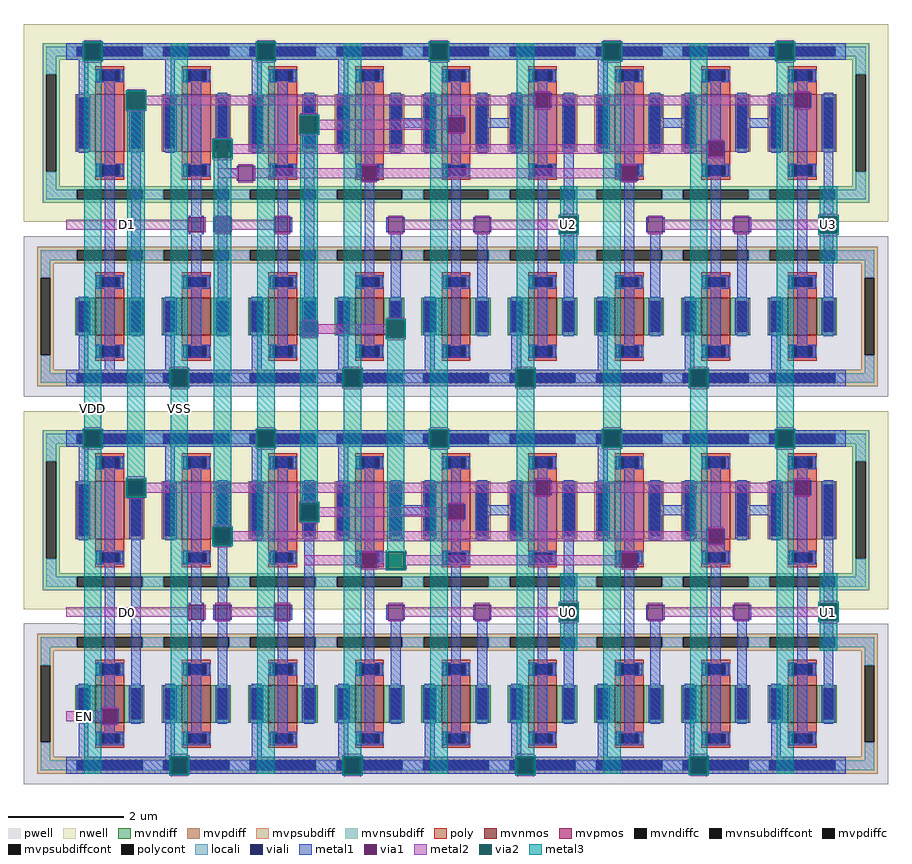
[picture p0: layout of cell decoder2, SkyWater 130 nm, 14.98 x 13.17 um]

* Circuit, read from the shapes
.subckt decoder2 D0 D1 EN U0 U1 U2 U3 VDD VSS
XM1 x6/C EN VSS VSS sky130_fd_pr__nfet_g5v0d10v5 w=0.65 l=0.5
XM2 xdummy/OUT VSS VSS VSS sky130_fd_pr__nfet_g5v0d10v5 w=0.65 l=0.5
XM3 x7/B D0 VSS VSS sky130_fd_pr__nfet_g5v0d10v5 w=0.65 l=0.5
XM4 x8/A D1 VSS VSS sky130_fd_pr__nfet_g5v0d10v5 w=0.65 l=0.5
XM5 x6/B x7/B VSS VSS sky130_fd_pr__nfet_g5v0d10v5 w=0.65 l=0.5
XM6 x6/A x8/A VSS VSS sky130_fd_pr__nfet_g5v0d10v5 w=0.65 l=0.5
XM7 U0 x6/A VSS VSS sky130_fd_pr__nfet_g5v0d10v5 w=0.65 l=0.5
XM8 U2 x8/A VSS VSS sky130_fd_pr__nfet_g5v0d10v5 w=0.65 l=0.5
XM9 U0 x6/B VSS VSS sky130_fd_pr__nfet_g5v0d10v5 w=0.65 l=0.5
XM10 U2 x6/B VSS VSS sky130_fd_pr__nfet_g5v0d10v5 w=0.65 l=0.5
XM11 U0 x6/C VSS VSS sky130_fd_pr__nfet_g5v0d10v5 w=0.65 l=0.5
XM12 U2 x6/C VSS VSS sky130_fd_pr__nfet_g5v0d10v5 w=0.65 l=0.5
XM13 U1 x6/A VSS VSS sky130_fd_pr__nfet_g5v0d10v5 w=0.65 l=0.5
XM14 U3 x8/A VSS VSS sky130_fd_pr__nfet_g5v0d10v5 w=0.65 l=0.5
XM15 U1 x7/B VSS VSS sky130_fd_pr__nfet_g5v0d10v5 w=0.65 l=0.5
XM16 U3 x7/B VSS VSS sky130_fd_pr__nfet_g5v0d10v5 w=0.65 l=0.5
XM17 U1 x6/C VSS VSS sky130_fd_pr__nfet_g5v0d10v5 w=0.65 l=0.5
XM18 U3 x6/C VSS VSS sky130_fd_pr__nfet_g5v0d10v5 w=0.65 l=0.5
XM19 x6/C EN VDD VDD sky130_fd_pr__pfet_g5v0d10v5 w=1 l=0.5
XM20 xdummy/OUT VSS VDD VDD sky130_fd_pr__pfet_g5v0d10v5 w=1 l=0.5
XM21 x7/B D0 VDD VDD sky130_fd_pr__pfet_g5v0d10v5 w=1 l=0.5
XM22 x8/A D1 VDD VDD sky130_fd_pr__pfet_g5v0d10v5 w=1 l=0.5
XM23 x6/B x7/B VDD VDD sky130_fd_pr__pfet_g5v0d10v5 w=1 l=0.5
XM24 x6/A x8/A VDD VDD sky130_fd_pr__pfet_g5v0d10v5 w=1 l=0.5
XM25 n1 x6/A VDD VDD sky130_fd_pr__pfet_g5v0d10v5 w=1 l=0.5
XM26 n2 x8/A VDD VDD sky130_fd_pr__pfet_g5v0d10v5 w=1 l=0.5
XM27 n3 x6/B n1 VDD sky130_fd_pr__pfet_g5v0d10v5 w=1 l=0.5
XM28 n4 x6/B n2 VDD sky130_fd_pr__pfet_g5v0d10v5 w=1 l=0.5
XM29 U0 x6/C n3 VDD sky130_fd_pr__pfet_g5v0d10v5 w=1 l=0.5
XM30 U2 x6/C n4 VDD sky130_fd_pr__pfet_g5v0d10v5 w=1 l=0.5
XM31 n5 x6/A VDD VDD sky130_fd_pr__pfet_g5v0d10v5 w=1 l=0.5
XM32 n6 x8/A VDD VDD sky130_fd_pr__pfet_g5v0d10v5 w=1 l=0.5
XM33 n7 x7/B n5 VDD sky130_fd_pr__pfet_g5v0d10v5 w=1 l=0.5
XM34 n8 x7/B n6 VDD sky130_fd_pr__pfet_g5v0d10v5 w=1 l=0.5
XM35 U1 x6/C n7 VDD sky130_fd_pr__pfet_g5v0d10v5 w=1 l=0.5
XM36 U3 x6/C n8 VDD sky130_fd_pr__pfet_g5v0d10v5 w=1 l=0.5
.ends

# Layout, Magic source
magic
tech sky130A
magscale 1 2
<< metal1 >>
rect 203 2509 209 2569
rect 269 2509 275 2569
rect 803 2509 809 2569
rect 869 2509 875 2569
rect 1403 2509 1409 2569
rect 1469 2509 1475 2569
rect 2003 2509 2009 2569
rect 2069 2509 2075 2569
rect 2603 2509 2609 2569
rect 2669 2509 2675 2569
rect 1766 2343 1772 2395
rect 1824 2343 1830 2395
rect 2666 2343 2672 2395
rect 2724 2343 2730 2395
rect 1466 2259 1472 2311
rect 1524 2259 1530 2311
rect 2366 2175 2372 2227
rect 2424 2175 2430 2227
rect 2366 2150 2430 2175
rect 738 2133 744 2142
rect 672 2099 744 2133
rect 738 2090 744 2099
rect 796 2090 802 2142
rect 1166 2091 1172 2143
rect 1224 2091 1230 2143
rect 2066 2091 2072 2143
rect 2124 2091 2130 2143
rect 572 1964 624 1970
rect 657 1912 663 1964
rect 715 1912 721 1964
rect 866 1912 872 1964
rect 924 1912 930 1964
rect 572 1906 624 1912
rect 957 1551 963 1603
rect 1015 1551 1021 1603
rect 281 1507 314 1511
rect 281 1390 315 1507
rect 503 1377 509 1437
rect 569 1377 575 1437
rect 1103 1377 1109 1437
rect 1169 1377 1175 1437
rect 1703 1377 1709 1437
rect 1769 1377 1775 1437
rect 2303 1377 2309 1437
rect 2369 1377 2375 1437
rect 203 1167 209 1227
rect 269 1167 275 1227
rect 803 1167 809 1227
rect 869 1167 875 1227
rect 1403 1167 1409 1227
rect 1469 1167 1475 1227
rect 2003 1167 2009 1227
rect 2069 1167 2075 1227
rect 2603 1167 2609 1227
rect 2669 1167 2675 1227
rect 357 1001 363 1053
rect 415 1001 421 1053
rect 1766 1001 1772 1053
rect 1824 1001 1830 1053
rect 2666 1001 2672 1053
rect 2724 1001 2730 1053
rect 957 917 963 969
rect 1015 917 1021 969
rect 1466 917 1472 969
rect 1524 917 1530 969
rect 657 833 663 885
rect 715 833 721 885
rect 2366 833 2372 885
rect 2424 833 2430 885
rect 2366 808 2430 833
rect 1166 749 1172 801
rect 1224 749 1230 801
rect 2066 749 2072 801
rect 2124 749 2130 801
rect 572 622 624 628
rect 657 570 663 622
rect 715 570 721 622
rect 866 570 872 622
rect 924 570 930 622
rect 572 564 624 570
rect 266 209 272 261
rect 324 209 330 261
rect 503 35 509 95
rect 569 35 575 95
rect 1103 35 1109 95
rect 1169 35 1175 95
rect 1703 35 1709 95
rect 1769 35 1775 95
rect 2303 35 2309 95
rect 2369 35 2375 95
<< via1 >>
rect 209 2509 269 2569
rect 809 2509 869 2569
rect 1409 2509 1469 2569
rect 2009 2509 2069 2569
rect 2609 2509 2669 2569
rect 1772 2343 1824 2395
rect 2672 2343 2724 2395
rect 1472 2259 1524 2311
rect 2372 2175 2424 2227
rect 744 2090 796 2142
rect 1172 2091 1224 2143
rect 2072 2091 2124 2143
rect 572 1912 624 1964
rect 663 1912 715 1964
rect 872 1912 924 1964
rect 963 1551 1015 1603
rect 509 1377 569 1437
rect 1109 1377 1169 1437
rect 1709 1377 1769 1437
rect 2309 1377 2369 1437
rect 209 1167 269 1227
rect 809 1167 869 1227
rect 1409 1167 1469 1227
rect 2009 1167 2069 1227
rect 2609 1167 2669 1227
rect 363 1001 415 1053
rect 1772 1001 1824 1053
rect 2672 1001 2724 1053
rect 963 917 1015 969
rect 1472 917 1524 969
rect 663 833 715 885
rect 2372 833 2424 885
rect 1172 749 1224 801
rect 2072 749 2124 801
rect 572 570 624 622
rect 663 570 715 622
rect 872 570 924 622
rect 272 209 324 261
rect 509 35 569 95
rect 1109 35 1169 95
rect 1709 35 1769 95
rect 2309 35 2369 95
<< metal2 >>
rect 209 2569 269 2578
rect 209 2500 269 2509
rect 809 2569 869 2578
rect 809 2500 869 2509
rect 1409 2569 1469 2578
rect 1409 2500 1469 2509
rect 2009 2569 2069 2578
rect 2009 2500 2069 2509
rect 2609 2569 2669 2578
rect 2609 2500 2669 2509
rect 359 2399 419 2408
rect 1772 2395 1824 2401
rect 419 2352 1772 2386
rect 359 2330 419 2339
rect 2672 2395 2724 2401
rect 1824 2352 2672 2386
rect 1772 2337 1824 2343
rect 2672 2337 2724 2343
rect 959 2315 1019 2324
rect 1472 2311 1524 2317
rect 1019 2268 1472 2302
rect 959 2246 1019 2255
rect 1472 2253 1524 2259
rect 659 2231 719 2240
rect 2372 2227 2424 2233
rect 719 2184 2372 2218
rect 659 2162 719 2171
rect 2372 2169 2424 2175
rect 744 2142 796 2148
rect 672 2100 744 2134
rect 1172 2143 1224 2149
rect 796 2100 1172 2134
rect 744 2084 796 2090
rect 2072 2143 2124 2149
rect 1224 2100 2072 2134
rect 1172 2085 1224 2091
rect 2072 2085 2124 2091
rect 663 1964 715 1970
rect 566 1955 572 1964
rect 148 1921 572 1955
rect 566 1912 572 1921
rect 624 1912 630 1964
rect 872 1964 924 1970
rect 715 1921 872 1955
rect 663 1906 715 1912
rect 1859 1968 1919 1977
rect 1829 1921 1859 1955
rect 872 1906 924 1912
rect 2759 1968 2819 1977
rect 2729 1921 2759 1955
rect 1859 1899 1919 1908
rect 2759 1899 2819 1908
rect 963 1603 1015 1609
rect 1259 1607 1319 1616
rect 1015 1560 1259 1594
rect 963 1545 1015 1551
rect 1259 1538 1319 1547
rect 509 1437 569 1446
rect 509 1368 569 1377
rect 1109 1437 1169 1446
rect 1109 1368 1169 1377
rect 1709 1437 1769 1446
rect 1709 1368 1769 1377
rect 2309 1437 2369 1446
rect 2309 1368 2369 1377
rect 209 1227 269 1236
rect 209 1158 269 1167
rect 809 1227 869 1236
rect 809 1158 869 1167
rect 1409 1227 1469 1236
rect 1409 1158 1469 1167
rect 2009 1227 2069 1236
rect 2009 1158 2069 1167
rect 2609 1227 2669 1236
rect 2609 1158 2669 1167
rect 359 1057 419 1066
rect 1772 1053 1824 1059
rect 419 1010 1772 1044
rect 359 988 419 997
rect 2672 1053 2724 1059
rect 1824 1010 2672 1044
rect 1772 995 1824 1001
rect 2672 995 2724 1001
rect 959 973 1019 982
rect 1472 969 1524 975
rect 1019 926 1472 960
rect 959 904 1019 913
rect 1472 911 1524 917
rect 659 889 719 898
rect 2372 885 2424 891
rect 719 842 2372 876
rect 659 820 719 829
rect 2372 827 2424 833
rect 1172 805 1224 807
rect 1172 801 1259 805
rect 972 758 1172 792
rect 1224 749 1259 801
rect 1172 745 1259 749
rect 1319 792 1328 805
rect 2072 801 2124 807
rect 1319 758 2072 792
rect 1319 745 1328 758
rect 1172 743 1224 745
rect 2072 743 2124 749
rect 663 622 715 628
rect 566 613 572 622
rect 148 579 572 613
rect 566 570 572 579
rect 624 570 630 622
rect 872 622 924 628
rect 715 579 872 613
rect 663 564 715 570
rect 1859 626 1919 635
rect 1829 579 1859 613
rect 872 564 924 570
rect 2759 626 2819 635
rect 2729 579 2759 613
rect 1859 557 1919 566
rect 2759 557 2819 566
rect 272 261 324 267
rect 148 218 272 252
rect 272 203 324 209
rect 509 95 569 104
rect 509 26 569 35
rect 1109 95 1169 104
rect 1109 26 1169 35
rect 1709 95 1769 104
rect 1709 26 1769 35
rect 2309 95 2369 104
rect 2309 26 2369 35
<< via2 >>
rect 209 2509 269 2569
rect 809 2509 869 2569
rect 1409 2509 1469 2569
rect 2009 2509 2069 2569
rect 2609 2509 2669 2569
rect 359 2339 419 2399
rect 959 2255 1019 2315
rect 659 2171 719 2231
rect 1859 1908 1919 1968
rect 2759 1908 2819 1968
rect 1259 1547 1319 1607
rect 509 1377 569 1437
rect 1109 1377 1169 1437
rect 1709 1377 1769 1437
rect 2309 1377 2369 1437
rect 209 1167 269 1227
rect 809 1167 869 1227
rect 1409 1167 1469 1227
rect 2009 1167 2069 1227
rect 2609 1167 2669 1227
rect 359 1053 419 1057
rect 359 1001 363 1053
rect 363 1001 415 1053
rect 415 1001 419 1053
rect 359 997 419 1001
rect 959 969 1019 973
rect 959 917 963 969
rect 963 917 1015 969
rect 1015 917 1019 969
rect 959 913 1019 917
rect 659 885 719 889
rect 659 833 663 885
rect 663 833 715 885
rect 715 833 719 885
rect 659 829 719 833
rect 1259 745 1319 805
rect 1859 566 1919 626
rect 2759 566 2819 626
rect 509 35 569 95
rect 1109 35 1169 95
rect 1709 35 1769 95
rect 2309 35 2369 95
<< metal3 >>
rect 204 2569 274 2574
rect 204 2509 209 2569
rect 269 2509 274 2569
rect 804 2569 874 2574
rect 204 2504 274 2509
rect 209 1232 269 2504
rect 354 2399 424 2404
rect 354 2339 359 2399
rect 419 2339 424 2399
rect 354 2334 424 2339
rect 204 1227 274 1232
rect 204 1167 209 1227
rect 269 1167 274 1227
rect 204 1162 274 1167
rect 209 36 269 1162
rect 359 1062 419 2334
rect 509 1442 569 2568
rect 804 2509 809 2569
rect 869 2509 874 2569
rect 1404 2569 1474 2574
rect 804 2504 874 2509
rect 654 2231 724 2236
rect 654 2171 659 2231
rect 719 2171 724 2231
rect 654 2166 724 2171
rect 504 1437 574 1442
rect 504 1377 509 1437
rect 569 1377 574 1437
rect 504 1372 574 1377
rect 354 1057 424 1062
rect 354 997 359 1057
rect 419 997 424 1057
rect 354 992 424 997
rect 509 100 569 1372
rect 659 894 719 2166
rect 809 1232 869 2504
rect 954 2315 1024 2320
rect 954 2255 959 2315
rect 1019 2255 1024 2315
rect 954 2250 1024 2255
rect 804 1227 874 1232
rect 804 1167 809 1227
rect 869 1167 874 1227
rect 804 1162 874 1167
rect 654 889 724 894
rect 654 829 659 889
rect 719 829 724 889
rect 654 824 724 829
rect 504 95 574 100
rect 504 35 509 95
rect 569 35 574 95
rect 809 36 869 1162
rect 959 978 1019 2250
rect 1109 1442 1169 2568
rect 1404 2509 1409 2569
rect 1469 2509 1474 2569
rect 2004 2569 2074 2574
rect 1404 2504 1474 2509
rect 1254 1607 1324 1612
rect 1254 1547 1259 1607
rect 1319 1547 1324 1607
rect 1254 1542 1324 1547
rect 1104 1437 1174 1442
rect 1104 1377 1109 1437
rect 1169 1377 1174 1437
rect 1104 1372 1174 1377
rect 954 973 1024 978
rect 954 913 959 973
rect 1019 913 1024 973
rect 954 908 1024 913
rect 1109 100 1169 1372
rect 1259 810 1319 1542
rect 1409 1232 1469 2504
rect 1709 1442 1769 2568
rect 2004 2509 2009 2569
rect 2069 2509 2074 2569
rect 2604 2569 2674 2574
rect 2004 2504 2074 2509
rect 1859 1973 1919 2072
rect 1854 1968 1924 1973
rect 1854 1908 1859 1968
rect 1919 1908 1924 1968
rect 1854 1903 1924 1908
rect 1859 1804 1919 1903
rect 1704 1437 1774 1442
rect 1704 1377 1709 1437
rect 1769 1377 1774 1437
rect 1704 1372 1774 1377
rect 1404 1227 1474 1232
rect 1404 1167 1409 1227
rect 1469 1167 1474 1227
rect 1404 1162 1474 1167
rect 1254 805 1324 810
rect 1254 745 1259 805
rect 1319 745 1324 805
rect 1254 740 1324 745
rect 1104 95 1174 100
rect 504 30 574 35
rect 1104 35 1109 95
rect 1169 35 1174 95
rect 1409 36 1469 1162
rect 1709 100 1769 1372
rect 2009 1232 2069 2504
rect 2309 1442 2369 2568
rect 2604 2509 2609 2569
rect 2669 2509 2674 2569
rect 2604 2504 2674 2509
rect 2304 1437 2374 1442
rect 2304 1377 2309 1437
rect 2369 1377 2374 1437
rect 2304 1372 2374 1377
rect 2004 1227 2074 1232
rect 2004 1167 2009 1227
rect 2069 1167 2074 1227
rect 2004 1162 2074 1167
rect 1859 631 1919 730
rect 1854 626 1924 631
rect 1854 566 1859 626
rect 1919 566 1924 626
rect 1854 561 1924 566
rect 1859 462 1919 561
rect 1704 95 1774 100
rect 1104 30 1174 35
rect 1704 35 1709 95
rect 1769 35 1774 95
rect 2009 36 2069 1162
rect 2309 100 2369 1372
rect 2609 1232 2669 2504
rect 2759 1973 2819 2072
rect 2754 1968 2824 1973
rect 2754 1908 2759 1968
rect 2819 1908 2824 1968
rect 2754 1903 2824 1908
rect 2759 1804 2819 1903
rect 2604 1227 2674 1232
rect 2604 1167 2609 1227
rect 2669 1167 2674 1227
rect 2604 1162 2674 1167
rect 2304 95 2374 100
rect 1704 30 1774 35
rect 2304 35 2309 95
rect 2369 35 2374 95
rect 2609 36 2669 1162
rect 2759 631 2819 730
rect 2754 626 2824 631
rect 2754 566 2759 626
rect 2819 566 2824 626
rect 2754 561 2824 566
rect 2759 462 2819 561
rect 2304 30 2374 35
use transistor_pair_bus9  transistor_pair_bus9_0
transform 1 0 60 0 1 0
box -60 0 2936 1292
use transistor_pair_bus9  transistor_pair_bus9_1
transform 1 0 60 0 1 1342
box -60 0 2936 1292
use inverter  x1
transform 1 0 60 0 1 0
box 88 36 388 1226
use inverter  x2
transform 1 0 360 0 1 0
box 88 36 388 1226
use inverter  x3
transform 1 0 660 0 1 0
box 88 36 388 1226
use inverter  x4
transform 1 0 360 0 1 1342
box 88 36 388 1226
use inverter  x5
transform 1 0 660 0 1 1342
box 88 36 388 1226
use nor3  x6
transform 1 0 960 0 1 0
box 88 36 964 1226
use nor3  x7
transform 1 0 1860 0 1 0
box 88 36 964 1226
use nor3  x8
transform 1 0 960 0 1 1342
box 88 36 964 1226
use nor3  x9
transform 1 0 1860 0 1 1342
box 88 36 964 1226
use inverter  xdummy
transform 1 0 60 0 1 1342
box 88 36 388 1226
<< labels >>
flabel metal2 148 218 272 252 0 FreeSans 128 0 0 0 EN
port 2 nsew
flabel metal2 148 579 572 613 0 FreeSans 128 0 0 0 D0
port 0 nsew
flabel metal2 148 1921 572 1955 0 FreeSans 128 0 0 0 D1
port 1 nsew
flabel metal3 1859 462 1919 730 0 FreeSans 128 0 0 0 U0
port 3 nsew
flabel metal3 2759 462 2819 730 0 FreeSans 128 0 0 0 U1
port 4 nsew
flabel metal3 1859 1804 1919 2072 0 FreeSans 128 0 0 0 U2
port 5 nsew
flabel metal3 2759 1804 2819 2072 0 FreeSans 128 0 0 0 U3
port 6 nsew
flabel metal3 209 36 269 2568 0 FreeSans 128 0 0 0 VDD
port 7 nsew
flabel metal3 509 36 569 2568 0 FreeSans 128 0 0 0 VSS
port 8 nsew
<< end >>

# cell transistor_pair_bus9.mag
magic
tech sky130A
magscale 1 2
<< nwell >>
rect -60 606 2936 1292
<< pwell >>
rect -60 556 126 557
rect -60 0 2936 556
<< mvnmos >>
rect 188 213 288 343
rect 488 213 588 343
rect 788 213 888 343
rect 1088 213 1188 343
rect 1388 213 1488 343
rect 1688 213 1788 343
rect 1988 213 2088 343
rect 2288 213 2388 343
rect 2588 213 2688 343
<< mvpmos >>
rect 188 849 288 1049
rect 488 849 588 1049
rect 788 849 888 1049
rect 1088 849 1188 1049
rect 1388 849 1488 1049
rect 1688 849 1788 1049
rect 1988 849 2088 1049
rect 2288 849 2388 1049
rect 2588 849 2688 1049
<< mvndiff >>
rect 118 331 188 343
rect 118 225 130 331
rect 164 225 188 331
rect 118 213 188 225
rect 288 331 358 343
rect 288 225 312 331
rect 346 225 358 331
rect 288 213 358 225
rect 418 331 488 343
rect 418 225 430 331
rect 464 225 488 331
rect 418 213 488 225
rect 588 331 658 343
rect 588 225 612 331
rect 646 225 658 331
rect 588 213 658 225
rect 718 331 788 343
rect 718 225 730 331
rect 764 225 788 331
rect 718 213 788 225
rect 888 331 958 343
rect 888 225 912 331
rect 946 225 958 331
rect 888 213 958 225
rect 1018 331 1088 343
rect 1018 225 1030 331
rect 1064 225 1088 331
rect 1018 213 1088 225
rect 1188 331 1258 343
rect 1188 225 1212 331
rect 1246 225 1258 331
rect 1188 213 1258 225
rect 1318 331 1388 343
rect 1318 225 1330 331
rect 1364 225 1388 331
rect 1318 213 1388 225
rect 1488 331 1558 343
rect 1488 225 1512 331
rect 1546 225 1558 331
rect 1488 213 1558 225
rect 1618 331 1688 343
rect 1618 225 1630 331
rect 1664 225 1688 331
rect 1618 213 1688 225
rect 1788 331 1858 343
rect 1788 225 1812 331
rect 1846 225 1858 331
rect 1788 213 1858 225
rect 1918 331 1988 343
rect 1918 225 1930 331
rect 1964 225 1988 331
rect 1918 213 1988 225
rect 2088 331 2158 343
rect 2088 225 2112 331
rect 2146 225 2158 331
rect 2088 213 2158 225
rect 2218 331 2288 343
rect 2218 225 2230 331
rect 2264 225 2288 331
rect 2218 213 2288 225
rect 2388 331 2458 343
rect 2388 225 2412 331
rect 2446 225 2458 331
rect 2388 213 2458 225
rect 2518 331 2588 343
rect 2518 225 2530 331
rect 2564 225 2588 331
rect 2518 213 2588 225
rect 2688 331 2758 343
rect 2688 225 2712 331
rect 2746 225 2758 331
rect 2688 213 2758 225
<< mvpdiff >>
rect 118 1037 188 1049
rect 118 861 130 1037
rect 164 861 188 1037
rect 118 849 188 861
rect 288 1037 358 1049
rect 288 861 312 1037
rect 346 861 358 1037
rect 288 849 358 861
rect 418 1037 488 1049
rect 418 861 430 1037
rect 464 861 488 1037
rect 418 849 488 861
rect 588 1037 658 1049
rect 588 861 612 1037
rect 646 861 658 1037
rect 588 849 658 861
rect 718 1037 788 1049
rect 718 861 730 1037
rect 764 861 788 1037
rect 718 849 788 861
rect 888 1037 958 1049
rect 888 861 912 1037
rect 946 861 958 1037
rect 888 849 958 861
rect 1018 1037 1088 1049
rect 1018 861 1030 1037
rect 1064 861 1088 1037
rect 1018 849 1088 861
rect 1188 1037 1258 1049
rect 1188 861 1212 1037
rect 1246 861 1258 1037
rect 1188 849 1258 861
rect 1318 1037 1388 1049
rect 1318 861 1330 1037
rect 1364 861 1388 1037
rect 1318 849 1388 861
rect 1488 1037 1558 1049
rect 1488 861 1512 1037
rect 1546 861 1558 1037
rect 1488 849 1558 861
rect 1618 1037 1688 1049
rect 1618 861 1630 1037
rect 1664 861 1688 1037
rect 1618 849 1688 861
rect 1788 1037 1858 1049
rect 1788 861 1812 1037
rect 1846 861 1858 1037
rect 1788 849 1858 861
rect 1918 1037 1988 1049
rect 1918 861 1930 1037
rect 1964 861 1988 1037
rect 1918 849 1988 861
rect 2088 1037 2158 1049
rect 2088 861 2112 1037
rect 2146 861 2158 1037
rect 2088 849 2158 861
rect 2218 1037 2288 1049
rect 2218 861 2230 1037
rect 2264 861 2288 1037
rect 2218 849 2288 861
rect 2388 1037 2458 1049
rect 2388 861 2412 1037
rect 2446 861 2458 1037
rect 2388 849 2458 861
rect 2518 1037 2588 1049
rect 2518 861 2530 1037
rect 2564 861 2588 1037
rect 2518 849 2588 861
rect 2688 1037 2758 1049
rect 2688 861 2712 1037
rect 2746 861 2758 1037
rect 2688 849 2758 861
<< mvndiffc >>
rect 130 225 164 331
rect 312 225 346 331
rect 430 225 464 331
rect 612 225 646 331
rect 730 225 764 331
rect 912 225 946 331
rect 1030 225 1064 331
rect 1212 225 1246 331
rect 1330 225 1364 331
rect 1512 225 1546 331
rect 1630 225 1664 331
rect 1812 225 1846 331
rect 1930 225 1964 331
rect 2112 225 2146 331
rect 2230 225 2264 331
rect 2412 225 2446 331
rect 2530 225 2564 331
rect 2712 225 2746 331
<< mvpdiffc >>
rect 130 861 164 1037
rect 312 861 346 1037
rect 430 861 464 1037
rect 612 861 646 1037
rect 730 861 764 1037
rect 912 861 946 1037
rect 1030 861 1064 1037
rect 1212 861 1246 1037
rect 1330 861 1364 1037
rect 1512 861 1546 1037
rect 1630 861 1664 1037
rect 1812 861 1846 1037
rect 1930 861 1964 1037
rect 2112 861 2146 1037
rect 2230 861 2264 1037
rect 2412 861 2446 1037
rect 2530 861 2564 1037
rect 2712 861 2746 1037
<< mvpsubdiff >>
rect -14 508 2900 520
rect -14 474 124 508
rect 352 474 424 508
rect 652 474 724 508
rect 952 474 1024 508
rect 1252 474 1324 508
rect 1552 474 1624 508
rect 1852 474 1924 508
rect 2152 474 2224 508
rect 2452 474 2524 508
rect 2752 474 2900 508
rect -14 462 2900 474
rect -14 412 44 462
rect -14 144 -2 412
rect 32 144 44 412
rect 2842 412 2900 462
rect -14 94 44 144
rect 2842 144 2854 412
rect 2888 144 2900 412
rect 2842 94 2900 144
rect -14 82 2900 94
rect -14 48 124 82
rect 352 48 424 82
rect 652 48 724 82
rect 952 48 1024 82
rect 1252 48 1324 82
rect 1552 48 1624 82
rect 1852 48 1924 82
rect 2152 48 2224 82
rect 2452 48 2524 82
rect 2752 48 2900 82
rect -14 36 2900 48
<< mvnsubdiff >>
rect 6 1214 2870 1226
rect 6 1180 124 1214
rect 352 1180 424 1214
rect 652 1180 724 1214
rect 952 1180 1024 1214
rect 1252 1180 1324 1214
rect 1552 1180 1624 1214
rect 1852 1180 1924 1214
rect 2152 1180 2224 1214
rect 2452 1180 2524 1214
rect 2752 1180 2870 1214
rect 6 1168 2870 1180
rect 6 1118 64 1168
rect 6 780 18 1118
rect 52 780 64 1118
rect 2812 1118 2870 1168
rect 6 730 64 780
rect 2812 780 2824 1118
rect 2858 780 2870 1118
rect 2812 730 2870 780
rect 6 718 2870 730
rect 6 684 124 718
rect 352 684 424 718
rect 652 684 724 718
rect 952 684 1024 718
rect 1252 684 1324 718
rect 1552 684 1624 718
rect 1852 684 1924 718
rect 2152 684 2224 718
rect 2452 684 2524 718
rect 2752 684 2870 718
rect 6 672 2870 684
<< mvpsubdiffcont >>
rect 124 474 352 508
rect 424 474 652 508
rect 724 474 952 508
rect 1024 474 1252 508
rect 1324 474 1552 508
rect 1624 474 1852 508
rect 1924 474 2152 508
rect 2224 474 2452 508
rect 2524 474 2752 508
rect -2 144 32 412
rect 2854 144 2888 412
rect 124 48 352 82
rect 424 48 652 82
rect 724 48 952 82
rect 1024 48 1252 82
rect 1324 48 1552 82
rect 1624 48 1852 82
rect 1924 48 2152 82
rect 2224 48 2452 82
rect 2524 48 2752 82
<< mvnsubdiffcont >>
rect 124 1180 352 1214
rect 424 1180 652 1214
rect 724 1180 952 1214
rect 1024 1180 1252 1214
rect 1324 1180 1552 1214
rect 1624 1180 1852 1214
rect 1924 1180 2152 1214
rect 2224 1180 2452 1214
rect 2524 1180 2752 1214
rect 18 780 52 1118
rect 2824 780 2858 1118
rect 124 684 352 718
rect 424 684 652 718
rect 724 684 952 718
rect 1024 684 1252 718
rect 1324 684 1552 718
rect 1624 684 1852 718
rect 1924 684 2152 718
rect 2224 684 2452 718
rect 2524 684 2752 718
<< poly >>
rect 188 1130 288 1146
rect 188 1096 204 1130
rect 272 1096 288 1130
rect 188 1049 288 1096
rect 488 1130 588 1146
rect 488 1096 504 1130
rect 572 1096 588 1130
rect 488 1049 588 1096
rect 788 1130 888 1146
rect 788 1096 804 1130
rect 872 1096 888 1130
rect 788 1049 888 1096
rect 1088 1130 1188 1146
rect 1088 1096 1104 1130
rect 1172 1096 1188 1130
rect 1088 1049 1188 1096
rect 1388 1130 1488 1146
rect 1388 1096 1404 1130
rect 1472 1096 1488 1130
rect 1388 1049 1488 1096
rect 1688 1130 1788 1146
rect 1688 1096 1704 1130
rect 1772 1096 1788 1130
rect 1688 1049 1788 1096
rect 1988 1130 2088 1146
rect 1988 1096 2004 1130
rect 2072 1096 2088 1130
rect 1988 1049 2088 1096
rect 2288 1130 2388 1146
rect 2288 1096 2304 1130
rect 2372 1096 2388 1130
rect 2288 1049 2388 1096
rect 2588 1130 2688 1146
rect 2588 1096 2604 1130
rect 2672 1096 2688 1130
rect 2588 1049 2688 1096
rect 188 802 288 849
rect 188 768 204 802
rect 272 768 288 802
rect 188 752 288 768
rect 488 802 588 849
rect 488 768 504 802
rect 572 768 588 802
rect 488 752 588 768
rect 788 802 888 849
rect 788 768 804 802
rect 872 768 888 802
rect 788 752 888 768
rect 1088 802 1188 849
rect 1088 768 1104 802
rect 1172 768 1188 802
rect 1088 752 1188 768
rect 1388 802 1488 849
rect 1388 768 1404 802
rect 1472 768 1488 802
rect 1388 752 1488 768
rect 1688 802 1788 849
rect 1688 768 1704 802
rect 1772 768 1788 802
rect 1688 752 1788 768
rect 1988 802 2088 849
rect 1988 768 2004 802
rect 2072 768 2088 802
rect 1988 752 2088 768
rect 2288 802 2388 849
rect 2288 768 2304 802
rect 2372 768 2388 802
rect 2288 752 2388 768
rect 2588 802 2688 849
rect 2588 768 2604 802
rect 2672 768 2688 802
rect 2588 752 2688 768
rect 188 415 288 431
rect 188 381 204 415
rect 272 381 288 415
rect 188 343 288 381
rect 488 415 588 431
rect 488 381 504 415
rect 572 381 588 415
rect 488 343 588 381
rect 788 415 888 431
rect 788 381 804 415
rect 872 381 888 415
rect 788 343 888 381
rect 1088 415 1188 431
rect 1088 381 1104 415
rect 1172 381 1188 415
rect 1088 343 1188 381
rect 1388 415 1488 431
rect 1388 381 1404 415
rect 1472 381 1488 415
rect 1388 343 1488 381
rect 1688 415 1788 431
rect 1688 381 1704 415
rect 1772 381 1788 415
rect 1688 343 1788 381
rect 1988 415 2088 431
rect 1988 381 2004 415
rect 2072 381 2088 415
rect 1988 343 2088 381
rect 2288 415 2388 431
rect 2288 381 2304 415
rect 2372 381 2388 415
rect 2288 343 2388 381
rect 2588 415 2688 431
rect 2588 381 2604 415
rect 2672 381 2688 415
rect 2588 343 2688 381
rect 188 175 288 213
rect 188 141 204 175
rect 272 141 288 175
rect 188 125 288 141
rect 488 175 588 213
rect 488 141 504 175
rect 572 141 588 175
rect 488 125 588 141
rect 788 175 888 213
rect 788 141 804 175
rect 872 141 888 175
rect 788 125 888 141
rect 1088 175 1188 213
rect 1088 141 1104 175
rect 1172 141 1188 175
rect 1088 125 1188 141
rect 1388 175 1488 213
rect 1388 141 1404 175
rect 1472 141 1488 175
rect 1388 125 1488 141
rect 1688 175 1788 213
rect 1688 141 1704 175
rect 1772 141 1788 175
rect 1688 125 1788 141
rect 1988 175 2088 213
rect 1988 141 2004 175
rect 2072 141 2088 175
rect 1988 125 2088 141
rect 2288 175 2388 213
rect 2288 141 2304 175
rect 2372 141 2388 175
rect 2288 125 2388 141
rect 2588 175 2688 213
rect 2588 141 2604 175
rect 2672 141 2688 175
rect 2588 125 2688 141
<< polycont >>
rect 204 1096 272 1130
rect 504 1096 572 1130
rect 804 1096 872 1130
rect 1104 1096 1172 1130
rect 1404 1096 1472 1130
rect 1704 1096 1772 1130
rect 2004 1096 2072 1130
rect 2304 1096 2372 1130
rect 2604 1096 2672 1130
rect 204 768 272 802
rect 504 768 572 802
rect 804 768 872 802
rect 1104 768 1172 802
rect 1404 768 1472 802
rect 1704 768 1772 802
rect 2004 768 2072 802
rect 2304 768 2372 802
rect 2604 768 2672 802
rect 204 381 272 415
rect 504 381 572 415
rect 804 381 872 415
rect 1104 381 1172 415
rect 1404 381 1472 415
rect 1704 381 1772 415
rect 2004 381 2072 415
rect 2304 381 2372 415
rect 2604 381 2672 415
rect 204 141 272 175
rect 504 141 572 175
rect 804 141 872 175
rect 1104 141 1172 175
rect 1404 141 1472 175
rect 1704 141 1772 175
rect 2004 141 2072 175
rect 2304 141 2372 175
rect 2604 141 2672 175
<< locali >>
rect 18 1180 124 1214
rect 352 1180 424 1214
rect 652 1180 724 1214
rect 952 1180 1024 1214
rect 1252 1180 1324 1214
rect 1552 1180 1624 1214
rect 1852 1180 1924 1214
rect 2152 1180 2224 1214
rect 2452 1180 2524 1214
rect 2752 1180 2858 1214
rect 18 1118 52 1180
rect 188 1096 204 1130
rect 272 1096 288 1130
rect 488 1096 504 1130
rect 572 1096 588 1130
rect 788 1096 804 1130
rect 872 1096 888 1130
rect 1088 1096 1104 1130
rect 1172 1096 1188 1130
rect 1388 1096 1404 1130
rect 1472 1096 1488 1130
rect 1688 1096 1704 1130
rect 1772 1096 1788 1130
rect 1988 1096 2004 1130
rect 2072 1096 2088 1130
rect 2288 1096 2304 1130
rect 2372 1096 2388 1130
rect 2588 1096 2604 1130
rect 2672 1096 2688 1130
rect 2824 1118 2858 1180
rect 130 1037 164 1053
rect 130 845 164 861
rect 312 1037 346 1053
rect 312 845 346 861
rect 430 1037 464 1053
rect 430 845 464 861
rect 612 1037 646 1053
rect 612 845 646 861
rect 730 1037 764 1053
rect 730 845 764 861
rect 912 1037 946 1053
rect 912 845 946 861
rect 1030 1037 1064 1053
rect 1030 845 1064 861
rect 1212 1037 1246 1053
rect 1212 845 1246 861
rect 1330 1037 1364 1053
rect 1330 845 1364 861
rect 1512 1037 1546 1053
rect 1512 845 1546 861
rect 1630 1037 1664 1053
rect 1630 845 1664 861
rect 1812 1037 1846 1053
rect 1812 845 1846 861
rect 1930 1037 1964 1053
rect 1930 845 1964 861
rect 2112 1037 2146 1053
rect 2112 845 2146 861
rect 2230 1037 2264 1053
rect 2230 845 2264 861
rect 2412 1037 2446 1053
rect 2412 845 2446 861
rect 2530 1037 2564 1053
rect 2530 845 2564 861
rect 2712 1037 2746 1053
rect 2712 845 2746 861
rect 18 718 52 780
rect 188 768 204 802
rect 272 768 288 802
rect 488 768 504 802
rect 572 768 588 802
rect 788 768 804 802
rect 872 768 888 802
rect 1088 768 1104 802
rect 1172 768 1188 802
rect 1388 768 1404 802
rect 1472 768 1488 802
rect 1688 768 1704 802
rect 1772 768 1788 802
rect 1988 768 2004 802
rect 2072 768 2088 802
rect 2288 768 2304 802
rect 2372 768 2388 802
rect 2588 768 2604 802
rect 2672 768 2688 802
rect 2824 718 2858 780
rect 18 684 124 718
rect 352 684 424 718
rect 652 684 724 718
rect 952 684 1024 718
rect 1252 684 1324 718
rect 1552 684 1624 718
rect 1852 684 1924 718
rect 2152 684 2224 718
rect 2452 684 2524 718
rect 2752 684 2858 718
rect -2 474 124 508
rect 352 474 424 508
rect 652 474 724 508
rect 952 474 1024 508
rect 1252 474 1324 508
rect 1552 474 1624 508
rect 1852 474 1924 508
rect 2152 474 2224 508
rect 2452 474 2524 508
rect 2752 474 2888 508
rect -2 412 32 474
rect 188 381 204 415
rect 272 381 288 415
rect 488 381 504 415
rect 572 381 588 415
rect 788 381 804 415
rect 872 381 888 415
rect 1088 381 1104 415
rect 1172 381 1188 415
rect 1388 381 1404 415
rect 1472 381 1488 415
rect 1688 381 1704 415
rect 1772 381 1788 415
rect 1988 381 2004 415
rect 2072 381 2088 415
rect 2288 381 2304 415
rect 2372 381 2388 415
rect 2588 381 2604 415
rect 2672 381 2688 415
rect 2854 412 2888 474
rect 130 331 164 347
rect 130 209 164 225
rect 312 331 346 347
rect 312 209 346 225
rect 430 331 464 347
rect 430 209 464 225
rect 612 331 646 347
rect 612 209 646 225
rect 730 331 764 347
rect 730 209 764 225
rect 912 331 946 347
rect 912 209 946 225
rect 1030 331 1064 347
rect 1030 209 1064 225
rect 1212 331 1246 347
rect 1212 209 1246 225
rect 1330 331 1364 347
rect 1330 209 1364 225
rect 1512 331 1546 347
rect 1512 209 1546 225
rect 1630 331 1664 347
rect 1630 209 1664 225
rect 1812 331 1846 347
rect 1812 209 1846 225
rect 1930 331 1964 347
rect 1930 209 1964 225
rect 2112 331 2146 347
rect 2112 209 2146 225
rect 2230 331 2264 347
rect 2230 209 2264 225
rect 2412 331 2446 347
rect 2412 209 2446 225
rect 2530 331 2564 347
rect 2530 209 2564 225
rect 2712 331 2746 347
rect 2712 209 2746 225
rect -2 82 32 144
rect 188 141 204 175
rect 272 141 288 175
rect 488 141 504 175
rect 572 141 588 175
rect 788 141 804 175
rect 872 141 888 175
rect 1088 141 1104 175
rect 1172 141 1188 175
rect 1388 141 1404 175
rect 1472 141 1488 175
rect 1688 141 1704 175
rect 1772 141 1788 175
rect 1988 141 2004 175
rect 2072 141 2088 175
rect 2288 141 2304 175
rect 2372 141 2388 175
rect 2588 141 2604 175
rect 2672 141 2688 175
rect 2854 82 2888 144
rect -2 48 124 82
rect 352 48 424 82
rect 652 48 724 82
rect 952 48 1024 82
rect 1252 48 1324 82
rect 1552 48 1624 82
rect 1852 48 1924 82
rect 2152 48 2224 82
rect 2452 48 2524 82
rect 2752 48 2888 82
<< viali >>
rect 124 1180 352 1214
rect 424 1180 652 1214
rect 724 1180 952 1214
rect 1024 1180 1252 1214
rect 1324 1180 1552 1214
rect 1624 1180 1852 1214
rect 1924 1180 2152 1214
rect 2224 1180 2452 1214
rect 2524 1180 2752 1214
rect 204 1096 272 1130
rect 504 1096 572 1130
rect 804 1096 872 1130
rect 1104 1096 1172 1130
rect 1404 1096 1472 1130
rect 1704 1096 1772 1130
rect 2004 1096 2072 1130
rect 2304 1096 2372 1130
rect 2604 1096 2672 1130
rect 130 861 164 1037
rect 312 861 346 1037
rect 430 861 464 1037
rect 612 861 646 1037
rect 730 861 764 1037
rect 912 861 946 1037
rect 1030 861 1064 1037
rect 1212 861 1246 1037
rect 1330 861 1364 1037
rect 1512 861 1546 1037
rect 1630 861 1664 1037
rect 1812 861 1846 1037
rect 1930 861 1964 1037
rect 2112 861 2146 1037
rect 2230 861 2264 1037
rect 2412 861 2446 1037
rect 2530 861 2564 1037
rect 2712 861 2746 1037
rect 204 768 272 802
rect 504 768 572 802
rect 804 768 872 802
rect 1104 768 1172 802
rect 1404 768 1472 802
rect 1704 768 1772 802
rect 2004 768 2072 802
rect 2304 768 2372 802
rect 2604 768 2672 802
rect 204 381 272 415
rect 504 381 572 415
rect 804 381 872 415
rect 1104 381 1172 415
rect 1404 381 1472 415
rect 1704 381 1772 415
rect 2004 381 2072 415
rect 2304 381 2372 415
rect 2604 381 2672 415
rect 130 225 164 331
rect 312 225 346 331
rect 430 225 464 331
rect 612 225 646 331
rect 730 225 764 331
rect 912 225 946 331
rect 1030 225 1064 331
rect 1212 225 1246 331
rect 1330 225 1364 331
rect 1512 225 1546 331
rect 1630 225 1664 331
rect 1812 225 1846 331
rect 1930 225 1964 331
rect 2112 225 2146 331
rect 2230 225 2264 331
rect 2412 225 2446 331
rect 2530 225 2564 331
rect 2712 225 2746 331
rect 204 141 272 175
rect 504 141 572 175
rect 804 141 872 175
rect 1104 141 1172 175
rect 1404 141 1472 175
rect 1704 141 1772 175
rect 2004 141 2072 175
rect 2304 141 2372 175
rect 2604 141 2672 175
rect 124 48 352 82
rect 424 48 652 82
rect 724 48 952 82
rect 1024 48 1252 82
rect 1324 48 1552 82
rect 1624 48 1852 82
rect 1924 48 2152 82
rect 2224 48 2452 82
rect 2524 48 2752 82
<< metal1 >>
rect 88 1214 2788 1226
rect 88 1180 124 1214
rect 352 1180 424 1214
rect 652 1180 724 1214
rect 952 1180 1024 1214
rect 1252 1180 1324 1214
rect 1552 1180 1624 1214
rect 1852 1180 1924 1214
rect 2152 1180 2224 1214
rect 2452 1180 2524 1214
rect 2752 1180 2788 1214
rect 88 1168 2788 1180
rect 192 1130 284 1136
rect 192 1096 204 1130
rect 272 1096 284 1130
rect 192 1090 284 1096
rect 492 1130 584 1136
rect 492 1096 504 1130
rect 572 1096 584 1130
rect 492 1090 584 1096
rect 792 1130 884 1136
rect 792 1096 804 1130
rect 872 1096 884 1130
rect 792 1090 884 1096
rect 1092 1130 1184 1136
rect 1092 1096 1104 1130
rect 1172 1096 1184 1130
rect 1092 1090 1184 1096
rect 1392 1130 1484 1136
rect 1392 1096 1404 1130
rect 1472 1096 1484 1130
rect 1392 1090 1484 1096
rect 1692 1130 1784 1136
rect 1692 1096 1704 1130
rect 1772 1096 1784 1130
rect 1692 1090 1784 1096
rect 1992 1130 2084 1136
rect 1992 1096 2004 1130
rect 2072 1096 2084 1130
rect 1992 1090 2084 1096
rect 2292 1130 2384 1136
rect 2292 1096 2304 1130
rect 2372 1096 2384 1130
rect 2292 1090 2384 1096
rect 2592 1130 2684 1136
rect 2592 1096 2604 1130
rect 2672 1096 2684 1130
rect 2592 1090 2684 1096
rect 130 1049 164 1053
rect 124 1037 170 1049
rect 124 861 130 1037
rect 164 861 170 1037
rect 124 849 170 861
rect 130 845 164 849
rect 221 808 255 1090
rect 312 1049 346 1053
rect 430 1049 464 1053
rect 306 1037 352 1049
rect 306 861 312 1037
rect 346 861 352 1037
rect 306 849 352 861
rect 424 1037 470 1049
rect 424 861 430 1037
rect 464 861 470 1037
rect 424 849 470 861
rect 312 845 346 849
rect 430 845 464 849
rect 521 808 555 1090
rect 612 1049 646 1053
rect 730 1049 764 1053
rect 606 1037 652 1049
rect 606 861 612 1037
rect 646 861 652 1037
rect 606 849 652 861
rect 724 1037 770 1049
rect 724 861 730 1037
rect 764 861 770 1037
rect 724 849 770 861
rect 612 845 646 849
rect 730 845 764 849
rect 821 808 855 1090
rect 912 1049 946 1053
rect 1030 1049 1064 1053
rect 906 1037 952 1049
rect 906 861 912 1037
rect 946 861 952 1037
rect 906 849 952 861
rect 1024 1037 1070 1049
rect 1024 861 1030 1037
rect 1064 861 1070 1037
rect 1024 849 1070 861
rect 912 845 946 849
rect 1030 845 1064 849
rect 1121 808 1155 1090
rect 1212 1049 1246 1053
rect 1330 1049 1364 1053
rect 1206 1037 1252 1049
rect 1206 861 1212 1037
rect 1246 861 1252 1037
rect 1206 849 1252 861
rect 1324 1037 1370 1049
rect 1324 861 1330 1037
rect 1364 861 1370 1037
rect 1324 849 1370 861
rect 1212 845 1246 849
rect 1330 845 1364 849
rect 1421 808 1455 1090
rect 1512 1049 1546 1053
rect 1630 1049 1664 1053
rect 1506 1037 1552 1049
rect 1506 861 1512 1037
rect 1546 861 1552 1037
rect 1506 849 1552 861
rect 1624 1037 1670 1049
rect 1624 861 1630 1037
rect 1664 861 1670 1037
rect 1624 849 1670 861
rect 1512 845 1546 849
rect 1630 845 1664 849
rect 1721 808 1755 1090
rect 1812 1049 1846 1053
rect 1930 1049 1964 1053
rect 1806 1037 1852 1049
rect 1806 861 1812 1037
rect 1846 861 1852 1037
rect 1806 849 1852 861
rect 1924 1037 1970 1049
rect 1924 861 1930 1037
rect 1964 861 1970 1037
rect 1924 849 1970 861
rect 1812 845 1846 849
rect 1930 845 1964 849
rect 2021 808 2055 1090
rect 2112 1049 2146 1053
rect 2230 1049 2264 1053
rect 2106 1037 2152 1049
rect 2106 861 2112 1037
rect 2146 861 2152 1037
rect 2106 849 2152 861
rect 2224 1037 2270 1049
rect 2224 861 2230 1037
rect 2264 861 2270 1037
rect 2224 849 2270 861
rect 2112 845 2146 849
rect 2230 845 2264 849
rect 2321 808 2355 1090
rect 2412 1049 2446 1053
rect 2530 1049 2564 1053
rect 2406 1037 2452 1049
rect 2406 861 2412 1037
rect 2446 861 2452 1037
rect 2406 849 2452 861
rect 2524 1037 2570 1049
rect 2524 861 2530 1037
rect 2564 861 2570 1037
rect 2524 849 2570 861
rect 2412 845 2446 849
rect 2530 845 2564 849
rect 2621 808 2655 1090
rect 2712 1049 2746 1053
rect 2706 1037 2752 1049
rect 2706 861 2712 1037
rect 2746 861 2752 1037
rect 2706 849 2752 861
rect 2712 845 2746 849
rect 192 802 284 808
rect 192 768 204 802
rect 272 768 284 802
rect 192 762 284 768
rect 492 802 584 808
rect 492 768 504 802
rect 572 768 584 802
rect 492 762 584 768
rect 792 802 884 808
rect 792 768 804 802
rect 872 768 884 802
rect 792 762 884 768
rect 1092 802 1184 808
rect 1092 768 1104 802
rect 1172 768 1184 802
rect 1092 762 1184 768
rect 1392 802 1484 808
rect 1392 768 1404 802
rect 1472 768 1484 802
rect 1392 762 1484 768
rect 1692 802 1784 808
rect 1692 768 1704 802
rect 1772 768 1784 802
rect 1692 762 1784 768
rect 1992 802 2084 808
rect 1992 768 2004 802
rect 2072 768 2084 802
rect 1992 762 2084 768
rect 2292 802 2384 808
rect 2292 768 2304 802
rect 2372 768 2384 802
rect 2292 762 2384 768
rect 2592 802 2684 808
rect 2592 768 2604 802
rect 2672 768 2684 802
rect 2592 762 2684 768
rect 192 415 284 421
rect 192 381 204 415
rect 272 381 284 415
rect 192 375 284 381
rect 492 415 584 421
rect 492 381 504 415
rect 572 381 584 415
rect 492 375 584 381
rect 792 415 884 421
rect 792 381 804 415
rect 872 381 884 415
rect 792 375 884 381
rect 1092 415 1184 421
rect 1092 381 1104 415
rect 1172 381 1184 415
rect 1092 375 1184 381
rect 1392 415 1484 421
rect 1392 381 1404 415
rect 1472 381 1484 415
rect 1392 375 1484 381
rect 1692 415 1784 421
rect 1692 381 1704 415
rect 1772 381 1784 415
rect 1692 375 1784 381
rect 1992 415 2084 421
rect 1992 381 2004 415
rect 2072 381 2084 415
rect 1992 375 2084 381
rect 2292 415 2384 421
rect 2292 381 2304 415
rect 2372 381 2384 415
rect 2292 375 2384 381
rect 2592 415 2684 421
rect 2592 381 2604 415
rect 2672 381 2684 415
rect 2592 375 2684 381
rect 130 343 164 347
rect 124 331 170 343
rect 124 225 130 331
rect 164 225 170 331
rect 124 213 170 225
rect 130 209 164 213
rect 221 181 255 375
rect 312 343 346 347
rect 430 343 464 347
rect 306 331 352 343
rect 306 225 312 331
rect 346 225 352 331
rect 306 213 352 225
rect 424 331 470 343
rect 424 225 430 331
rect 464 225 470 331
rect 424 213 470 225
rect 312 209 346 213
rect 430 209 464 213
rect 521 181 555 375
rect 612 343 646 347
rect 730 343 764 347
rect 606 331 652 343
rect 606 225 612 331
rect 646 225 652 331
rect 606 213 652 225
rect 724 331 770 343
rect 724 225 730 331
rect 764 225 770 331
rect 724 213 770 225
rect 612 209 646 213
rect 730 209 764 213
rect 821 181 855 375
rect 912 343 946 347
rect 1030 343 1064 347
rect 906 331 952 343
rect 906 225 912 331
rect 946 225 952 331
rect 906 213 952 225
rect 1024 331 1070 343
rect 1024 225 1030 331
rect 1064 225 1070 331
rect 1024 213 1070 225
rect 912 209 946 213
rect 1030 209 1064 213
rect 1121 181 1155 375
rect 1212 343 1246 347
rect 1330 343 1364 347
rect 1206 331 1252 343
rect 1206 225 1212 331
rect 1246 225 1252 331
rect 1206 213 1252 225
rect 1324 331 1370 343
rect 1324 225 1330 331
rect 1364 225 1370 331
rect 1324 213 1370 225
rect 1212 209 1246 213
rect 1330 209 1364 213
rect 1421 181 1455 375
rect 1512 343 1546 347
rect 1630 343 1664 347
rect 1506 331 1552 343
rect 1506 225 1512 331
rect 1546 225 1552 331
rect 1506 213 1552 225
rect 1624 331 1670 343
rect 1624 225 1630 331
rect 1664 225 1670 331
rect 1624 213 1670 225
rect 1512 209 1546 213
rect 1630 209 1664 213
rect 1721 181 1755 375
rect 1812 343 1846 347
rect 1930 343 1964 347
rect 1806 331 1852 343
rect 1806 225 1812 331
rect 1846 225 1852 331
rect 1806 213 1852 225
rect 1924 331 1970 343
rect 1924 225 1930 331
rect 1964 225 1970 331
rect 1924 213 1970 225
rect 1812 209 1846 213
rect 1930 209 1964 213
rect 2021 181 2055 375
rect 2112 343 2146 347
rect 2230 343 2264 347
rect 2106 331 2152 343
rect 2106 225 2112 331
rect 2146 225 2152 331
rect 2106 213 2152 225
rect 2224 331 2270 343
rect 2224 225 2230 331
rect 2264 225 2270 331
rect 2224 213 2270 225
rect 2112 209 2146 213
rect 2230 209 2264 213
rect 2321 181 2355 375
rect 2412 343 2446 347
rect 2530 343 2564 347
rect 2406 331 2452 343
rect 2406 225 2412 331
rect 2446 225 2452 331
rect 2406 213 2452 225
rect 2524 331 2570 343
rect 2524 225 2530 331
rect 2564 225 2570 331
rect 2524 213 2570 225
rect 2412 209 2446 213
rect 2530 209 2564 213
rect 2621 181 2655 375
rect 2712 343 2746 347
rect 2706 331 2752 343
rect 2706 225 2712 331
rect 2746 225 2752 331
rect 2706 213 2752 225
rect 2712 209 2746 213
rect 192 175 284 181
rect 192 141 204 175
rect 272 141 284 175
rect 192 135 284 141
rect 492 175 584 181
rect 492 141 504 175
rect 572 141 584 175
rect 492 135 584 141
rect 792 175 884 181
rect 792 141 804 175
rect 872 141 884 175
rect 792 135 884 141
rect 1092 175 1184 181
rect 1092 141 1104 175
rect 1172 141 1184 175
rect 1092 135 1184 141
rect 1392 175 1484 181
rect 1392 141 1404 175
rect 1472 141 1484 175
rect 1392 135 1484 141
rect 1692 175 1784 181
rect 1692 141 1704 175
rect 1772 141 1784 175
rect 1692 135 1784 141
rect 1992 175 2084 181
rect 1992 141 2004 175
rect 2072 141 2084 175
rect 1992 135 2084 141
rect 2292 175 2384 181
rect 2292 141 2304 175
rect 2372 141 2384 175
rect 2292 135 2384 141
rect 2592 175 2684 181
rect 2592 141 2604 175
rect 2672 141 2684 175
rect 2592 135 2684 141
rect 88 82 2788 94
rect 88 48 124 82
rect 352 48 424 82
rect 652 48 724 82
rect 952 48 1024 82
rect 1252 48 1324 82
rect 1552 48 1624 82
rect 1852 48 1924 82
rect 2152 48 2224 82
rect 2452 48 2524 82
rect 2752 48 2788 82
rect 88 36 2788 48
<< labels >>
flabel metal1 88 1168 2788 1226 0 FreeSans 256 0 0 0 VDD
port 0 nsew power bidirectional
flabel metal1 88 36 2788 94 0 FreeSans 256 0 0 0 VSS
port 1 nsew ground bidirectional
<< end >>

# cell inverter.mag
magic
tech sky130A
magscale 1 2
<< metal1 >>
rect 88 1168 388 1226
rect 130 845 164 1168
rect 130 94 164 347
rect 221 141 255 1130
rect 312 209 346 1053
rect 88 36 388 94
<< labels >>
flabel metal1 221 141 255 1130 0 FreeSans 256 0 0 0 IN
port 0 nsew
flabel metal1 312 209 346 1053 0 FreeSans 256 0 0 0 OUT
port 1 nsew
flabel metal1 88 1168 388 1226 0 FreeSans 256 0 0 0 VDD
port 2 nsew
flabel metal1 88 36 388 94 0 FreeSans 256 0 0 0 VSS
port 3 nsew
<< end >>

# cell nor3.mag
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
